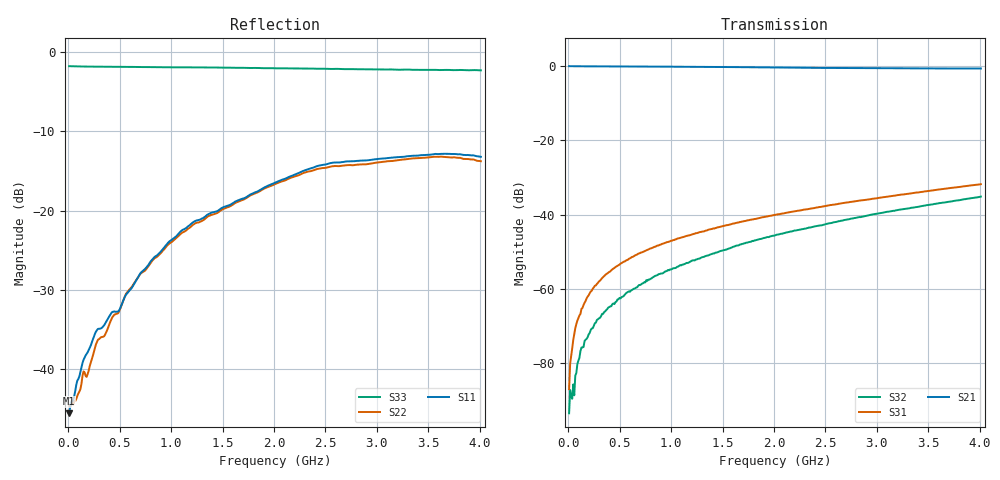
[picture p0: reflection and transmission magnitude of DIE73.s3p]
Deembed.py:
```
# -*- coding: utf-8 -*-
"""
Spyder Editor

This is a temporary script file.
"""

import skrf as rf
import os
import matplotlib.pylab as plt
import numpy as np

touchstone_file1 = os.path.join('C:\\Users\\jslaton\\Desktop\\PythonDeembedProject','DIE73.s3p')
touchstone_file2 = os.path.join('C:\\Users\\jslaton\\Desktop\\PythonDeembedProject','OPEN.s3p')

OPEN = rf.Network(touchstone_file2)
DIE73 = rf.Network(touchstone_file1)

DIE73Path1 = rf.Network(frequency = DIE73.f, s=DIE73.s[:,:2,:2])
OPENPath1 = rf.Network(frequency = OPEN.f, s=OPEN.s[:,:2,:2])

denom_s21 = np.sqrt(OPENPath1.s[:,0,0]) * np.sqrt(OPENPath1.s[:,1,1])
numer_s21 = DIE73Path1.s[:,0,1] - OPENPath1.s[:,0,1]
s21 = np.divide(numer_s21,denom_s21)
s11 = np.divide(DIE73.s[:,0,0],OPEN.s[:,0,0])
s_deembedded = np.array([[s11, s21],[s21,s11]])
#s_deembedded = s_deembedded.

deembedded = rf.Network(f=DIE73.f, s = s_deembedded)

#rf.stylely()
#fig = plt.figure()
#DIE73.s21.plot_s_db()
#OPEN.s21.plot_s_db()
#deembedded.s21.plot_s_db()
#DIE73Path1.plot_s_db()
#deembedded.plot_s_db()
```
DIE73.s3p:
!Keysight Technologies,N5232A,MY52221226,A.10.49.03
!Date: Wednesday, April 13, 2016 21:46:12
!Correction: S11(Full 6 Port(1,2,3,4,5,6))
!S12(Full 6 Port(1,2,3,4,5,6))
!S13(Full 6 Port(1,2,3,4,5,6))
!S21(Full 6 Port(1,2,3,4,5,6))
!S22(Full 6 Port(1,2,3,4,5,6))
!S23(Full 6 Port(1,2,3,4,5,6))
!S31(Full 6 Port(1,2,3,4,5,6))
!S32(Full 6 Port(1,2,3,4,5,6))
!S33(Full 6 Port(1,2,3,4,5,6))
!S3P File: Measurements: <S11,S12,S13>,
!<S21,S22,S23>,
!<S31,S32,S33>:
# Hz S  dB  R 50
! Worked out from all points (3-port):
!   401 points, 10 MHz to 4.01 GHz, reference 50 ohm
!   strongest paths, dB at 10 MHz, 1.01 GHz, 2.01 GHz, 3.01 GHz, 4.01 GHz:
!     S21: -0.1, -0.3, -0.5, -0.7, -0.7
!     S31: -86.9, -47.0, -40.1, -35.5, -31.8
!     S32: -93.4, -54.6, -45.6, -39.7, -35.2
!   lowest |S11| = -45.6 dB at 10 MHz (marker M1), VSWR 1.01, Z = 50.5 - j0.104 ohm
!   |S11| at or under -10 dB: start of sweep to end of sweep
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1e7  -45.59 -11.3  -0.10 -0.9  -84.70 60.7
     -0.11 -0.8  -44.58 -8.5  -90.34 15.1
     -86.94 51.6  -93.41 72.3  -1.77 179.2
3.2e8  -34.87 -85.0  -0.17 -25.0  -57.40 71.1
       -0.17 -25.0  -35.99 -99.5  -67.13 83.1
       -57.44 71.7  -67.32 88.0  -1.84 155.6
1.13e9  -22.34 -172.5  -0.27 -87.7  -45.87 22.7
        -0.27 -87.7  -22.65 -171.5  -53.19 44.6
        -45.94 22.7  -53.29 44.1  -1.91 95.8
2.25e9  -15.20 96.3  -0.52 -173.9  -38.91 -47.9
        -0.52 -173.9  -15.49 96.7  -44.13 -27.2
        -38.88 -48.0  -44.07 -27.7  -2.06 14.6
4.01e9  -13.21 -32.9  -0.73 51.4  -31.84 -167.7
        -0.73 51.4  -13.77 -40.1  -35.18 -151.9
        -31.83 -167.5  -35.17 -152.0  -2.30 -117.8
